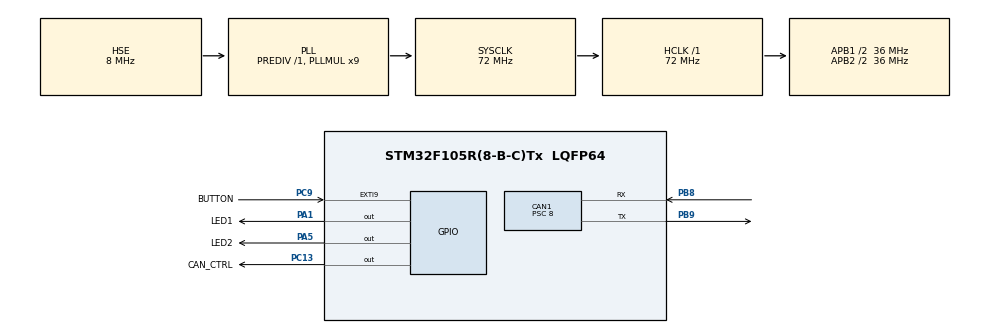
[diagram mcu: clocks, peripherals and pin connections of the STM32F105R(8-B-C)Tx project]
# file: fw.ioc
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CAN1.ABOM=DISABLE
CAN1.AWUM=DISABLE
CAN1.BS1=CAN_BS1_5TQ
CAN1.BS2=CAN_BS2_3TQ
CAN1.CalculateTimeBit=666
CAN1.CalculateTimeQuantum=222.22222222222223
CAN1.Mode=CAN_MODE_NORMAL
CAN1.NART=ENABLE
CAN1.Prescaler=8
CAN1.SJW=CAN_SJW_1TQ
CAN1.TXFP=ENABLE
FREERTOS.Queues01=output_Queue,16,uint32_t,0,Dynamic,NULL,NULL
FREERTOS.Tasks01=generate_CAN_ta,0,128,generate_CAN_task_f,Default,NULL,Dynamic,NULL,NULL;send_can_frm_ta,-3,128,send_can_frm_task_f,Default,NULL,Dynamic,NULL,NULL
Mcu.Family=STM32F1
Mcu.Name=STM32F105R(8-B-C)Tx
Mcu.Package=LQFP64
NVIC.CAN1_RX0_IRQn=true\:5\:0\:false\:false\:true\:true\:true
NVIC.CAN1_RX1_IRQn=true\:5\:0\:false\:false\:true\:true\:true
NVIC.CAN1_SCE_IRQn=true\:5\:0\:false\:false\:true\:true\:true
NVIC.CAN1_TX_IRQn=true\:5\:0\:false\:false\:true\:true\:true
NVIC.EXTI9_5_IRQn=true\:0\:0\:false\:false\:true\:false\:true
NVIC.PriorityGroup=NVIC_PRIORITYGROUP_4
NVIC.RCC_IRQn=true\:5\:0\:false\:false\:true\:true\:true
NVIC.TIM1_UP_IRQn=true\:0\:0\:false\:false\:true\:false\:true
NVIC.TimeBase=TIM1_UP_IRQn
NVIC.TimeBaseIP=TIM1
PA1.GPIO_Label=LED1
PA1.Signal=GPIO_Output
PA13.Mode=Serial_Wire
PA13.Signal=SYS_JTMS-SWDIO
PA14.Mode=Serial_Wire
PA14.Signal=SYS_JTCK-SWCLK
PA5.GPIO_Label=LED2
PA5.Signal=GPIO_Output
PB8.Mode=Master
PB8.Signal=CAN1_RX
PB9.Mode=Master
PB9.Signal=CAN1_TX
PC13-TAMPER-RTC.GPIO_Label=CAN_CTRL
PC13-TAMPER-RTC.GPIO_ModeDefaultOutputPP=GPIO_MODE_OUTPUT_PP
PC13-TAMPER-RTC.GPIO_PuPd=GPIO_PULLDOWN
PC13-TAMPER-RTC.GPIO_Speed=GPIO_SPEED_FREQ_HIGH
PC13-TAMPER-RTC.PinState=GPIO_PIN_RESET
PC13-TAMPER-RTC.Signal=GPIO_Output
PC14-OSC32_IN.Mode=LSE-External-Oscillator
PC14-OSC32_IN.Signal=RCC_OSC32_IN
PC15-OSC32_OUT.Mode=LSE-External-Oscillator
PC15-OSC32_OUT.Signal=RCC_OSC32_OUT
PC9.GPIO_Label=BUTTON
PC9.Signal=GPXTI9
PD0-OSC_IN.Mode=HSE-External-Oscillator
PD0-OSC_IN.Signal=RCC_OSC_IN
PD1-OSC_OUT.Mode=HSE-External-Oscillator
PD1-OSC_OUT.Signal=RCC_OSC_OUT
ProjectManager.HeapSize=0x200
ProjectManager.StackSize=0x400
ProjectManager.TargetToolchain=MDK-ARM V5
RCC.AHBFreq_Value=72000000
RCC.APB1CLKDivider=RCC_HCLK_DIV2
RCC.APB1Freq_Value=36000000
RCC.APB1TimFreq_Value=72000000
RCC.APB2CLKDivider=RCC_HCLK_DIV2
RCC.APB2Freq_Value=36000000
RCC.APB2TimFreq_Value=72000000
RCC.HCLKFreq_Value=72000000
RCC.PLLMUL=RCC_PLL_MUL9
RCC.PLLSourceVirtual=RCC_PLLSOURCE_HSE
RCC.SYSCLKFreq_VALUE=72000000
RCC.SYSCLKSource=RCC_SYSCLKSOURCE_PLLCLK
RCC.USBFreq_Value=48000000
VP_FREERTOS_VS_ENABLE.Mode=Enabled
VP_SYS_VS_tim1.Mode=TIM1
board=basic-fw

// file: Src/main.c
/**
  ******************************************************************************
  * @file           : main.c
  * @brief          : Main program body
  ******************************************************************************
  * This notice applies to any and all portions of this file
  * that are not between comment pairs USER CODE BEGIN and
  * USER CODE END. Other portions of this file, whether
  * inserted by the user or by software development tools
  * are owned by their respective copyright owners.
  *
  * Copyright (c) 2018 STMicroelectronics International N.V.
  * All rights reserved.
  *
  * Redistribution and use in source and binary forms, with or without
  * modification, are permitted, provided that the following conditions are met:
  *
  * 1. Redistribution of source code must retain the above copyright notice,
  *    this list of conditions and the following disclaimer.
  * 2. Redistributions in binary form must reproduce the above copyright notice,
  *    this list of conditions and the following disclaimer in the documentation
  *    and/or other materials provided with the distribution.
  * 3. Neither the name of STMicroelectronics nor the names of other
  *    contributors to this software may be used to endorse or promote products
  *    derived from this software without specific written permission.
  * 4. This software, including modifications and/or derivative works of this
  *    software, must execute solely and exclusively on microcontroller or
  *    microprocessor devices manufactured by or for STMicroelectronics.
  * 5. Redistribution and use of this software other than as permitted under
  *    this license is void and will automatically terminate your rights under
  *    this license.
  *
  * THIS SOFTWARE IS PROVIDED BY STMICROELECTRONICS AND CONTRIBUTORS "AS IS"
  * AND ANY EXPRESS, IMPLIED OR STATUTORY WARRANTIES, INCLUDING, BUT NOT
  * LIMITED TO, THE IMPLIED WARRANTIES OF MERCHANTABILITY, FITNESS FOR A
  * PARTICULAR PURPOSE AND NON-INFRINGEMENT OF THIRD PARTY INTELLECTUAL PROPERTY
  * RIGHTS ARE DISCLAIMED TO THE FULLEST EXTENT PERMITTED BY LAW. IN NO EVENT
  * SHALL STMICROELECTRONICS OR CONTRIBUTORS BE LIABLE FOR ANY DIRECT, INDIRECT,
  * INCIDENTAL, SPECIAL, EXEMPLARY, OR CONSEQUENTIAL DAMAGES (INCLUDING, BUT NOT
  * LIMITED TO, PROCUREMENT OF SUBSTITUTE GOODS OR SERVICES; LOSS OF USE, DATA,
  * OR PROFITS; OR BUSINESS INTERRUPTION) HOWEVER CAUSED AND ON ANY THEORY OF
  * LIABILITY, WHETHER IN CONTRACT, STRICT LIABILITY, OR TORT (INCLUDING
  * NEGLIGENCE OR OTHERWISE) ARISING IN ANY WAY OUT OF THE USE OF THIS SOFTWARE,
  * EVEN IF ADVISED OF THE POSSIBILITY OF SUCH DAMAGE.
  *
  ******************************************************************************
  */
#include "main.h"
#include "stm32f1xx_hal.h"
#include "cmsis_os.h"

/* USER CODE BEGIN Includes */

#include <stdlib.h>
#include <string.h>

#include <time.h>

/* USER CODE END Includes */

CAN_HandleTypeDef hcan1;

osThreadId generate_CAN_taHandle;
osThreadId send_can_frm_taHandle;
osMessageQId output_QueueHandle;

/* USER CODE BEGIN PV */
/* Private variables ---------------------------------------------------------*/

/* USER CODE END PV */

void SystemClock_Config(void);
static void MX_GPIO_Init(void);
static void MX_CAN1_Init(void);
void generate_CAN_task_f(void const * argument);
void send_can_frm_task_f(void const * argument);

/* USER CODE BEGIN PFP */
/* Private function prototypes -----------------------------------------------*/

/* USER CODE END PFP */

/* USER CODE BEGIN 0 */

uint8_t modForGen = 10;
uint8_t CR = '\n';
uint8_t LF = '\r';

void tglYell() {
	HAL_GPIO_TogglePin(LED1_GPIO_Port, LED1_Pin);
}

void circleThroughMods() {
	modForGen += 1;
	if (modForGen > 10) {
		modForGen = 2;
	}
}

void tglGrn() {
	HAL_GPIO_TogglePin(LED2_GPIO_Port, LED2_Pin);
}

/* USER CODE END 0 */

int main(void)
{
  /* USER CODE BEGIN 1 */

	static CanTxMsgTypeDef        TxMessage;
	static CanRxMsgTypeDef        RxMessage;

  /* USER CODE END 1 */

  /* MCU Configuration----------------------------------------------------------*/

  /* Reset of all peripherals, Initializes the Flash interface and the Systick. */
  HAL_Init();

  /* Configure the system clock */
  SystemClock_Config();

  /* Initialize all configured peripherals */
  MX_GPIO_Init();
  MX_CAN1_Init();
  /* USER CODE BEGIN 2 */
	hcan1.pTxMsg = &TxMessage;
	hcan1.pRxMsg = &RxMessage;

CAN_FilterConfTypeDef canFilterConfig;
canFilterConfig.FilterNumber = 0;
canFilterConfig.FilterMode = CAN_FILTERMODE_IDMASK;
canFilterConfig.FilterScale = CAN_FILTERSCALE_32BIT;
canFilterConfig.FilterIdHigh = 0x0000;
canFilterConfig.FilterIdLow = 0x0000;
canFilterConfig.FilterMaskIdHigh = 0x0000 << 5;
canFilterConfig.FilterMaskIdLow = 0x0000;
canFilterConfig.FilterFIFOAssignment = 0;
canFilterConfig.FilterActivation = ENABLE;
canFilterConfig.BankNumber = 1;
HAL_CAN_ConfigFilter(&hcan1, &canFilterConfig);

  /* USER CODE END 2 */

  /* Create the thread(s) */
  /* definition and creation of generate_CAN_ta */
  osThreadDef(generate_CAN_ta, generate_CAN_task_f, osPriorityNormal, 0, 128);
  generate_CAN_taHandle = osThreadCreate(osThread(generate_CAN_ta), NULL);

  /* definition and creation of send_can_frm_ta */
  osThreadDef(send_can_frm_ta, send_can_frm_task_f, osPriorityIdle, 0, 128);
  send_can_frm_taHandle = osThreadCreate(osThread(send_can_frm_ta), NULL);

  /* Create the queue(s) */
  /* definition and creation of output_Queue */
/* what about the sizeof here??? cd native code */
  osMessageQDef(output_Queue, 16, uint32_t);
  output_QueueHandle = osMessageCreate(osMessageQ(output_Queue), NULL);

  /* USER CODE BEGIN RTOS_QUEUES */
	/* add queues, ... */
	tglYell();
	HAL_Delay(500);
	tglGrn();
	HAL_Delay(500);
	tglGrn();
	HAL_Delay(500);
	tglYell();
	HAL_Delay(500);
	HAL_CAN_Receive_IT(&hcan1, CAN_FIFO0);
  /* USER CODE END RTOS_QUEUES */

  /* Start scheduler */
  osKernelStart();

  /* We should never get here as control is now taken by the scheduler */

  /* Infinite loop */
  /* USER CODE BEGIN WHILE */
		//HAL_GPIO_TogglePin(CAN_CTRL_GPIO_Port, CAN_CTRL_Pin);
	while (1)
	{

  /* USER CODE END WHILE */

	}

}

void SystemClock_Config(void)
{

  RCC_OscInitTypeDef RCC_OscInitStruct;
  RCC_ClkInitTypeDef RCC_ClkInitStruct;

    /**Initializes the CPU, AHB and APB busses clocks
    */
  RCC_OscInitStruct.OscillatorType = RCC_OSCILLATORTYPE_HSE;
  RCC_OscInitStruct.HSEState = RCC_HSE_ON;
  RCC_OscInitStruct.HSEPredivValue = RCC_HSE_PREDIV_DIV1;
  RCC_OscInitStruct.HSIState = RCC_HSI_ON;
  RCC_OscInitStruct.Prediv1Source = RCC_PREDIV1_SOURCE_HSE;
  RCC_OscInitStruct.PLL.PLLState = RCC_PLL_ON;
  RCC_OscInitStruct.PLL.PLLSource = RCC_PLLSOURCE_HSE;
  RCC_OscInitStruct.PLL.PLLMUL = RCC_PLL_MUL9;
  RCC_OscInitStruct.PLL2.PLL2State = RCC_PLL_NONE;
  if (HAL_RCC_OscConfig(&RCC_OscInitStruct) != HAL_OK)
  {
    _Error_Handler(__FILE__, __LINE__);
  }

    /**Initializes the CPU, AHB and APB busses clocks
    */
  RCC_ClkInitStruct.ClockType = RCC_CLOCKTYPE_HCLK|RCC_CLOCKTYPE_SYSCLK
                              |RCC_CLOCKTYPE_PCLK1|RCC_CLOCKTYPE_PCLK2;
  RCC_ClkInitStruct.SYSCLKSource = RCC_SYSCLKSOURCE_PLLCLK;
  RCC_ClkInitStruct.AHBCLKDivider = RCC_SYSCLK_DIV1;
  RCC_ClkInitStruct.APB1CLKDivider = RCC_HCLK_DIV2;
  RCC_ClkInitStruct.APB2CLKDivider = RCC_HCLK_DIV2;

  if (HAL_RCC_ClockConfig(&RCC_ClkInitStruct, FLASH_LATENCY_2) != HAL_OK)
  {
    _Error_Handler(__FILE__, __LINE__);
  }

    /**Configure the Systick interrupt time
    */
  HAL_SYSTICK_Config(HAL_RCC_GetHCLKFreq()/1000);

    /**Configure the Systick
    */
  HAL_SYSTICK_CLKSourceConfig(SYSTICK_CLKSOURCE_HCLK);

    /**Configure the Systick interrupt time
    */
  __HAL_RCC_PLLI2S_ENABLE();

  /* SysTick_IRQn interrupt configuration */
  HAL_NVIC_SetPriority(SysTick_IRQn, 15, 0);
}

/* CAN1 init function */
static void MX_CAN1_Init(void)
{

  hcan1.Instance = CAN1;
  hcan1.Init.Prescaler = 8;
  hcan1.Init.Mode = CAN_MODE_NORMAL;
  hcan1.Init.SJW = CAN_SJW_1TQ;
  hcan1.Init.BS1 = CAN_BS1_5TQ;
  hcan1.Init.BS2 = CAN_BS2_3TQ;
  hcan1.Init.TTCM = DISABLE;
  hcan1.Init.ABOM = DISABLE;
  hcan1.Init.AWUM = DISABLE;
  hcan1.Init.NART = ENABLE;
  hcan1.Init.RFLM = DISABLE;
  hcan1.Init.TXFP = ENABLE;
  if (HAL_CAN_Init(&hcan1) != HAL_OK)
  {
    _Error_Handler(__FILE__, __LINE__);
  }

}

/** Configure pins as
        * Analog
        * Input
        * Output
        * EVENT_OUT
        * EXTI
*/
static void MX_GPIO_Init(void)
{

  GPIO_InitTypeDef GPIO_InitStruct;

  /* GPIO Ports Clock Enable */
  __HAL_RCC_GPIOC_CLK_ENABLE();
  __HAL_RCC_GPIOD_CLK_ENABLE();
  __HAL_RCC_GPIOA_CLK_ENABLE();
  __HAL_RCC_GPIOB_CLK_ENABLE();

  /*Configure GPIO pin Output Level */
  HAL_GPIO_WritePin(CAN_CTRL_GPIO_Port, CAN_CTRL_Pin, GPIO_PIN_RESET);

  /*Configure GPIO pin Output Level */
  HAL_GPIO_WritePin(GPIOA, LED1_Pin|LED2_Pin, GPIO_PIN_RESET);

  /*Configure GPIO pin : CAN_CTRL_Pin */
  GPIO_InitStruct.Pin = CAN_CTRL_Pin;
  GPIO_InitStruct.Mode = GPIO_MODE_OUTPUT_PP;
  GPIO_InitStruct.Pull = GPIO_PULLDOWN;
  GPIO_InitStruct.Speed = GPIO_SPEED_FREQ_HIGH;
  HAL_GPIO_Init(CAN_CTRL_GPIO_Port, &GPIO_InitStruct);

  /*Configure GPIO pins : LED1_Pin LED2_Pin */
  GPIO_InitStruct.Pin = LED1_Pin|LED2_Pin;
  GPIO_InitStruct.Mode = GPIO_MODE_OUTPUT_PP;
  GPIO_InitStruct.Pull = GPIO_NOPULL;
  GPIO_InitStruct.Speed = GPIO_SPEED_FREQ_LOW;
  HAL_GPIO_Init(GPIOA, &GPIO_InitStruct);

  /*Configure GPIO pin : BUTTON_Pin */
  GPIO_InitStruct.Pin = BUTTON_Pin;
  GPIO_InitStruct.Mode = GPIO_MODE_IT_RISING;
  GPIO_InitStruct.Pull = GPIO_NOPULL;
  HAL_GPIO_Init(BUTTON_GPIO_Port, &GPIO_InitStruct);

  /* EXTI interrupt init*/
  HAL_NVIC_SetPriority(EXTI9_5_IRQn, 0, 0);
  HAL_NVIC_EnableIRQ(EXTI9_5_IRQn);

}

/* USER CODE BEGIN 4 */
void HAL_CAN_RxCpltCallback(CAN_HandleTypeDef* hcan) {
	CanRxMsgTypeDef* fp = NULL;
	fp = malloc(sizeof(CanRxMsgTypeDef));
	memcpy(fp, hcan1.pRxMsg, sizeof(CanRxMsgTypeDef));
	xQueueSendFromISR(output_QueueHandle, &fp, NULL);
	HAL_CAN_Receive_IT(&hcan1, CAN_FIFO0);
}

void HAL_GPIO_EXTI_Callback(uint16_t GPIO_Pin)
{
	circleThroughMods();
}
/* USER CODE END 4 */

/* generate_CAN_task_f function */
void generate_CAN_task_f(void const * argument)
{

  /* USER CODE BEGIN 5 */
	CanRxMsgTypeDef* fp = NULL;
	/* Infinite loop */
	for(;;)
	{
		fp = malloc(sizeof(CanRxMsgTypeDef));
		if (fp != NULL) {
			uint8_t dlc = rand() % 9;

			fp->StdId = 0xff;
			fp->RTR = CAN_RTR_DATA;
			fp->IDE = CAN_ID_STD;
			fp->DLC = dlc;

			for (uint8_t i = 0; i < dlc; i++) {
				fp->Data[i] = rand() % 0x100;
			}
			xQueueSend(output_QueueHandle, &fp, 10);
		}
		osDelay(modForGen * modForGen * modForGen);
	}
  /* USER CODE END 5 */
}

/* send_can_frm_task_f function */
void send_can_frm_task_f(void const * argument)
{
  /* USER CODE BEGIN send_can_frm_task_f */
	/* Infinite loop */
	CanRxMsgTypeDef *fp = NULL;

	for(;;) {
		if (xQueueReceive(output_QueueHandle, &fp, 10)) {
			hcan1.pTxMsg->StdId = fp->StdId;
			hcan1.pTxMsg->ExtId = fp->ExtId;
			hcan1.pTxMsg->RTR = fp->RTR;
			hcan1.pTxMsg->IDE = fp->IDE;
			hcan1.pTxMsg->DLC = fp->DLC;
			/* Set the data to be tranmitted */
			hcan1.pTxMsg->Data[0] = fp->Data[0];
			hcan1.pTxMsg->Data[1] = fp->Data[1];
			hcan1.pTxMsg->Data[2] = fp->Data[2];
			hcan1.pTxMsg->Data[3] = fp->Data[3];
			hcan1.pTxMsg->Data[4] = fp->Data[4];
			hcan1.pTxMsg->Data[5] = fp->Data[5];
			hcan1.pTxMsg->Data[6] = fp->Data[6];
			hcan1.pTxMsg->Data[7] = fp->Data[7];

			HAL_StatusTypeDef status = HAL_CAN_Transmit(&hcan1, 100);
			if (status != HAL_OK) {
				tglGrn();
			}
			tglYell();
			free(fp);
		}
		osDelay(1);
	}
  /* USER CODE END send_can_frm_task_f */
}

void HAL_TIM_PeriodElapsedCallback(TIM_HandleTypeDef *htim)
{
  if (htim->Instance == TIM1) {
    HAL_IncTick();
  }
}

void _Error_Handler(char *file, int line)
{
}

#ifdef  USE_FULL_ASSERT
/**
  * @brief  Reports the name of the source file and the source line number
  *         where the assert_param error has occurred.
  * @param  file: pointer to the source file name
  * @param  line: assert_param error line source number
  * @retval None
  */
void assert_failed(uint8_t* file, uint32_t line)
{
  /* USER CODE BEGIN 6 */
	println("asert");
	/* User can add his own implementation to report the file name and line number,
		 tex: printf("Wrong parameters value: file %s on line %d\r\n", file, line) */
  /* USER CODE END 6 */
}
#endif /* USE_FULL_ASSERT */

/************************ (C) COPYRIGHT STMicroelectronics *****END OF FILE****/
